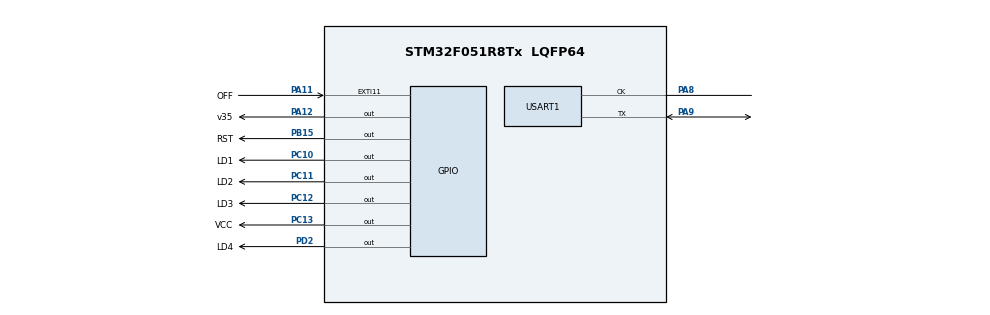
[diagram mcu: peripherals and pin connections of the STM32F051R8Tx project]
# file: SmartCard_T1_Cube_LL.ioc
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Dma.Request0=USART1_RX
Dma.Request1=USART1_TX
Dma.USART1_RX.0.Direction=DMA_PERIPH_TO_MEMORY
Dma.USART1_RX.0.Instance=DMA1_Channel3
Dma.USART1_RX.0.MemDataAlignment=DMA_MDATAALIGN_BYTE
Dma.USART1_RX.0.MemInc=DMA_MINC_ENABLE
Dma.USART1_RX.0.Mode=DMA_NORMAL
Dma.USART1_RX.0.PeriphDataAlignment=DMA_PDATAALIGN_BYTE
Dma.USART1_RX.0.PeriphInc=DMA_PINC_DISABLE
Dma.USART1_RX.0.Priority=DMA_PRIORITY_LOW
Dma.USART1_TX.1.Direction=DMA_MEMORY_TO_PERIPH
Dma.USART1_TX.1.Instance=DMA1_Channel2
Dma.USART1_TX.1.MemDataAlignment=DMA_MDATAALIGN_BYTE
Dma.USART1_TX.1.MemInc=DMA_MINC_ENABLE
Dma.USART1_TX.1.Mode=DMA_NORMAL
Dma.USART1_TX.1.PeriphDataAlignment=DMA_PDATAALIGN_BYTE
Dma.USART1_TX.1.PeriphInc=DMA_PINC_DISABLE
Dma.USART1_TX.1.Priority=DMA_PRIORITY_LOW
Mcu.Family=STM32F0
Mcu.Name=STM32F051R8Tx
Mcu.Package=LQFP64
NVIC.DMA1_Channel2_3_IRQn=true\:0\:0\:false\:false\:true\:false\:true\:true
NVIC.EXTI4_15_IRQn=true\:0\:0\:false\:false\:true\:true\:true\:true
NVIC.USART1_IRQn=true\:0\:0\:false\:false\:true\:true\:true\:true
PA0.Signal=ADC_IN0
PA1.Signal=COMP1_INP
PA11.GPIO_Label=OFF
PA11.Signal=GPXTI11
PA12.GPIO_Label=v35
PA12.Signal=GPIO_Output
PA8.Mode=SmartCard_With_Clock
PA8.Signal=USART1_CK
PA9.Mode=SmartCard_With_Clock
PA9.Signal=USART1_TX
PB15.GPIO_Label=RST
PB15.Signal=GPIO_Output
PC10.GPIO_Label=LD1
PC10.Signal=GPIO_Output
PC11.GPIO_Label=LD2
PC11.Signal=GPIO_Output
PC12.GPIO_Label=LD3
PC12.Signal=GPIO_Output
PC13.GPIO_Label=VCC
PC13.Signal=GPIO_Output
PD2.GPIO_Label=LD4
PD2.Signal=GPIO_Output
ProjectManager.HeapSize=0x200
ProjectManager.StackSize=0x400
ProjectManager.TargetToolchain=STM32CubeIDE
RCC.AHBFreq_Value=48000000
RCC.APB1Freq_Value=48000000
RCC.APB1TimFreq_Value=48000000
RCC.HCLKFreq_Value=48000000
RCC.PLLMUL=RCC_PLL_MUL12
RCC.SYSCLKFreq_VALUE=48000000
RCC.SYSCLKSource=RCC_SYSCLKSOURCE_PLLCLK
USART1.VirtualClockMode=VM_SMARTCARD
USART1.VirtualMode-SmartCard_With_Clock=VM_SMARTCARD
VP_CRC_VS_CRC.Mode=CRC_Activate
VP_RTC_VS_RTC_Activate.Mode=RTC_Enabled
board=custom

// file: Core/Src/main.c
/* USER CODE BEGIN Header */
/**
  ******************************************************************************
  * @file           : main.c
  * @brief          : Main program body
  ******************************************************************************
  * @attention
  *
  * Copyright (c) 2024 STMicroelectronics.
  * All rights reserved.
  *
  * This software is licensed under terms that can be found in the LICENSE file
  * in the root directory of this software component.
  * If no LICENSE file comes with this software, it is provided AS-IS.
  *
  ******************************************************************************
  */
/* USER CODE END Header */
#include "main.h"

/* USER CODE BEGIN Includes */
#include "t1_hal.h"
#include "t1_protocol.h"
#include "t1_protocol_param.h"
/* USER CODE END Includes */

/* USER CODE BEGIN PD */
/* Modifiable parameters */
#define SAD           0x0  /* Source address: reader (allowed values 0 -> 7) */
#define DAD           0x0  /* Destination address: card (allowed values 0 -> 7) */
#define IFSD_VALUE    254  /* Max length of INF field Supported by the reader */
#define SC_FILE_SIZE  0x100   /* File size */
#define SC_FILE_ID    0x0001  /* File identifier */
#define SC_CLASS      0x00

/* Constant parameters */
#define INS_SELECT_FILE    0xA4 /* Select file instruction */
#define INS_READ_FILE      0xB0 /* Read file instruction */
#define INS_WRITE_FILE     0xD6 /* Write file instruction */
#define TRAILER_LENGTH     2    /* Trailer lenght (SW1 and SW2: 2 bytes) */
/* USER CODE END PD */

/* USER CODE BEGIN PM */
#define NAD    (((DAD&0x7)<<4) | (SAD&0x7)) /* Node Address byte */
/* USER CODE END PM */

CRC_HandleTypeDef hcrc;

RTC_HandleTypeDef hrtc;

/* USER CODE BEGIN PV */
ATR_TypeDef atr; /* Answer To Reset structure */
t1_TypeDef T1;   /* T=1 protocol structure */
__IO int32_t ResponseStatus = 0; /* Communication Response status */
uint8_t C_APDU[300];  /* APDU Command buffer */
uint8_t R_APDU[300];  /* APDU Response buffer */
uint8_t ATR_buf[ATR_MAX_SIZE]; /* Answer To Reset buffer */
uint32_t CardClkFreq = 0;  /* The Smartcard clock frequency in Hz */
uint32_t etu_usec = 0; /* Elementary Time Unit in microsecond */
uint32_t SC_baud = 0;  /* SmartCard baudrate */
int8_t protocol= -1;   /* Default protocol (initialized to -1) */
uint32_t apdu_index;   /* Index of the APDU buffer */
uint8_t atr_status;    /* The status of the ATR response */
__IO uint32_t TimingDelay = 0;
__IO uint32_t CardInserted = 0;
/* USER CODE END PV */

void SystemClock_Config(void);
static void MX_GPIO_Init(void);
static void MX_DMA_Init(void);
static void MX_USART1_SMARTCARD_Init(void);
static void MX_CRC_Init(void);
static void MX_RTC_Init(void);

int main(void)
{

  /* MCU Configuration--------------------------------------------------------*/

  /* Reset of all peripherals, Initializes the Flash interface and the Systick. */
  HAL_Init();

  /* Configure the system clock */
  SystemClock_Config();

  /* Initialize all configured peripherals */
  MX_GPIO_Init();
  MX_DMA_Init();
  MX_USART1_SMARTCARD_Init();
  MX_CRC_Init();
  MX_RTC_Init();
  /* USER CODE BEGIN 2 */
  /* Loop while no Smartcard is detected */
//  while(CardInserted == 0)
//  {
//  }

  /* Insert delay of 100ms for signal stabilization */
  HAL_Delay(100);

  /* Configure the USART for SmartCard application and get the selected frequency */
  CardClkFreq = SC_USARTConfig(&etu_usec,&SC_baud);

  /* Enable CMDVCC */
  SC_PowerCmd(ENABLE);

  /* Reset the card */
  SC_Reset(0);

  /************************* Answer To Reset (ATR) ******************************/

  /* ---ATR request...--- */

  /* Get the answer to reset (ATR) frame from the card */
  SC_GetATR(ATR_buf, etu_usec, ATR_MAX_SIZE);

  /* Decode the ATR frame */
  atr_status = ATR_Decode(&atr, &ATR_buf[0], ATR_MAX_SIZE);

  /* If the ATR is malformed */
  if(atr_status != 0)
  {
    /* ---ATR ERROR--- */
    while (1)
    {
      /* The user can reset the card at this stage */
    }
  }
  else
  {

    /* ---ATR OK--- */
    /* ---ATR received: ATR_buf, atr.length--- */

  }

  /* ---SmartCard Clk: CardClkFreq--- */
  /* ---SmartCard baudrate: SC_baud--- */

  /* Get the default protocol */
  ATR_GetDefaultProtocol(&atr, &protocol);

  /* If the protocol used by the card is T=1, start the demo */
  if(protocol == ATR_PROTOCOL_TYPE_T1)
  {

    /********************** T=1 Protocol initialization ****************************/

    /* Init the protocol structure */
    T1_Protocol_Init(&T1,CardClkFreq);

    /* Set F and D parameters and get the new etu value in micro-seconds */
    etu_usec = Set_F_D_parameters(&atr,CardClkFreq);

    /* Set the etu to be used by the protocol */
    (void)T1_SetParameter(&T1, T1_PROTOCOL_ETU, etu_usec);

    /* Set the convention of the protocol */
    Set_Convention(&atr,&T1);

    /* Set and configure the extra guardtime value */
    Set_EGT(&atr);

    /* Set the IFSC (card IFS) value */
    Set_IFSC(&atr, &T1);

    /* Set the CWT and BWT values */
    Set_CWT_BWT(&atr, &T1);

    /* Set the EDC type (LRC or CRC) */
    Set_EDC(&atr, &T1);

    /*************************** Start T1 Protocol ********************************/

    /*------- Send IFSD request --------------------------------------------------*/

    /* Negotiate IFSD: we indicate to the card a new IFSD that the reader can support */
    ResponseStatus = T1_Negotiate_IFSD(&T1, NAD, IFSD_VALUE);

    /* If the IFSD request communication has failed */
    if(ResponseStatus<0)
    {
      /* ---IFSD communication error--- */
      while (1)
      {
        /* The user can reset the card at this stage */
      }
    }

    /*------- Send APDU: Select File Command -------------------------------------*/

    /* Send Select File Command */
    C_APDU[0] = SC_CLASS;                    /* CLA */
    C_APDU[1] = INS_SELECT_FILE;             /* INS: Select File */
    C_APDU[2] = 0x00;                        /* P1 */
    C_APDU[3] = 0x00;                        /* P2 */
    C_APDU[4] = 0x02;                        /* Lc */
    C_APDU[5] = (uint8_t)(SC_FILE_ID>>8);    /* Data 1 */
    C_APDU[6] = (uint8_t)(SC_FILE_ID&0xFF);  /* Data 2 */

    /* ---Sending APDU:  C_APDU, 7--- */

    /* Send/Receive APDU command/response: Select File having ID = SC_FILE_ID */
    ResponseStatus = T1_APDU(&T1, NAD, C_APDU, 7, R_APDU, TRAILER_LENGTH);

    /* If the APDU communication has failed */
    if(ResponseStatus<0)
    {
      /* ---APDU communication error--- */
      while (1)
      {
        /* The user can reset the card at this stage */
      }
    }
    else
    {
      /* ---APDU response: R_APDU, ResponseStatus--- */
    }

    /*------- Send APDU: Read File Command ---------------------------------------*/

    /* Select file */
    C_APDU[0] = SC_CLASS;       /* CLA */
    C_APDU[1] = INS_READ_FILE;  /* INS: Read File */
    C_APDU[2] = 0x00;           /* P1 */
    C_APDU[3] = 0x00;           /* P2 */
    C_APDU[4] = 0x00;           /* Lc: read 256 bytes */

    /* ---Sending APDU: C_APDU, 5--- */

    /* Send/Receive APDU command/response: Read File (256 bytes) */
    ResponseStatus = T1_APDU(&T1, NAD, C_APDU, 5, R_APDU, 256+TRAILER_LENGTH);

    /* If the APDU communication has failed */
    if(ResponseStatus<0)
    {
      /* ---APDU communication error--- */
      while (1)
      {
        /* The user can reset the card at this stage */
      }
    }
    else
    {
      /* ---APDU response: R_APDU, ResponseStatus--- */
    }

    /*------- Send APDU: Write File Command --------------------------------------*/

    /* Select file */
    C_APDU[0] = SC_CLASS;        /* CLA */
    C_APDU[1] = INS_WRITE_FILE;  /* INS: Write File */
    C_APDU[2] = 0x00;            /* P1 */
    C_APDU[3] = 0x00;            /* P2 */
    C_APDU[4] = 0xFF;            /* Lc */

    apdu_index = 5;

    while(apdu_index<261)
    {
      /* initialize the APDU buffer (data field) */
      C_APDU[apdu_index] = apdu_index-5;
      apdu_index++;
    }

    /* ---Sending APDU--- */

    /* Send/Receive APDU command/response: Write File 256 bytes */
    ResponseStatus = T1_APDU(&T1, NAD, C_APDU, 261, R_APDU, TRAILER_LENGTH);

    /* If the APDU communication has failed */
    if(ResponseStatus<0)
    {
      /* ---APDU communication error--- */
      while (1)
      {
        /* The user can reset the card at this stage */
      }
    }
    else
    {
      /* ---APDU response: R_APDU, ResponseStatus--- */
    }

    /*------- Send APDU: Read File Command ---------------------------------------*/

    /* Select file */
    C_APDU[0] = SC_CLASS;       /* CLA */
    C_APDU[1] = INS_READ_FILE;  /* INS: Read File */
    C_APDU[2] = 0x00;           /* P1 */
    C_APDU[3] = 0x00;           /* P2 */
    C_APDU[4] = 0x00;           /* Lc */

    /* ---Sending APDU:  C_APDU, 5--- */

    /* Send/Receive APDU command/response: Read File (256 bytes) */
    ResponseStatus = T1_APDU(&T1, NAD, C_APDU, 5, R_APDU, 256+TRAILER_LENGTH);

    /* If the APDU communication has failed */
    if(ResponseStatus<0)
    {
      /* ---APDU communication error--- */
      while (1)
      {
        /* The user can reset the card at this stage */
      }
    }
    else
    {
      /* ---APDU response: R_APDU, ResponseStatus--- */
    }

    /*------- Send APDU: Write File Command --------------------------------------*/

    /* Select file */
    C_APDU[0] = SC_CLASS;        /* CLA */
    C_APDU[1] = INS_WRITE_FILE;  /* INS: Write File */
    C_APDU[2] = 0x00;            /* P1 */
    C_APDU[3] = 0x00;            /* P2 */
    C_APDU[4] = 0xFF;            /* Lc */

    apdu_index = 5;

    while(apdu_index<261)
    {
      /* Get and invesre the file received from the card */
      C_APDU[apdu_index] = ~(R_APDU[apdu_index-5]);
      apdu_index++;
    }

    /* ---Sending APDU: ", C_APDU, 261--- */

    /* Send/Receive APDU command/response: Write File (256 bytes) */
    ResponseStatus =  T1_APDU(&T1, NAD, C_APDU, 261, R_APDU, TRAILER_LENGTH);

    /* If the APDU communication has failed */
    if(ResponseStatus<0)
    {
      /* ---APDU communication error--- */
      while (1)
      {
        /* The user can reset the card at this stage */
      }
    }
    else
    {
      /* ---APDU response: R_APDU, ResponseStatus--- */
    }

    /*------- Send APDU: Read File Command -------------------------------------*/

    /* Select file */
    C_APDU[0] = SC_CLASS;       /* CLA */
    C_APDU[1] = INS_READ_FILE;  /* INS: Read File */
    C_APDU[2] = 0x00;           /* P1 */
    C_APDU[3] = 0x00;           /* P2 */
    C_APDU[4] = 0x00;           /* Lc */

    /* ---Sending APDU: C_APDU, 5--- */

    /* Send/Receive APDU command/response: Read File (256 bytes) */
    ResponseStatus =  T1_APDU(&T1, NAD, C_APDU, 5, R_APDU, 256+TRAILER_LENGTH);

    /* If the APDU communication has failed */
    if(ResponseStatus<0)
    {
      /* ---APDU communication error--- */
      while (1)
      {
        /* The user can reset the card at this stage */
      }
    }
    else
    {
      /* ---APDU response:  R_APDU, ResponseStatus--- */
      /* ---All operations were executed successfully --- */
      // STM_EVAL_LEDOn(LED1);
      // STM_EVAL_LEDOn(LED2);
      // STM_EVAL_LEDOn(LED3);
      // STM_EVAL_LEDOn(LED4);
       __NOP();
    }
  }
  else
  {
    /* ---SmartCard is not compatible with T=1 protocol--- */
    // STM_EVAL_LEDOff(LED1);
    // STM_EVAL_LEDOn(LED2);
    // STM_EVAL_LEDOff(LED3);
    // STM_EVAL_LEDOff(LED4);
     __NOP();
  }

  /* ----*-*-*- DEMO END -*-*-*---- */
  CardInserted = 0;
  /* USER CODE END 2 */

  /* Infinite loop */
  while (1)
  {

  }
}

void SystemClock_Config(void)
{
  LL_FLASH_SetLatency(LL_FLASH_LATENCY_1);
  while(LL_FLASH_GetLatency() != LL_FLASH_LATENCY_1)
  {
  }
  LL_RCC_HSI_Enable();

   /* Wait till HSI is ready */
  while(LL_RCC_HSI_IsReady() != 1)
  {

  }
//  LL_RCC_HSI_SetCalibTrimming(16);
  LL_RCC_LSI_Enable();

   /* Wait till LSI is ready */
  while(LL_RCC_LSI_IsReady() != 1)
  {

  }
  LL_PWR_EnableBkUpAccess();
  if(LL_RCC_GetRTCClockSource() != LL_RCC_RTC_CLKSOURCE_LSI)
  {
    LL_RCC_ForceBackupDomainReset();
    LL_RCC_ReleaseBackupDomainReset();
    LL_RCC_SetRTCClockSource(LL_RCC_RTC_CLKSOURCE_LSI);
  }
  LL_RCC_EnableRTC();
  LL_RCC_PLL_ConfigDomain_SYS(LL_RCC_PLLSOURCE_HSI_DIV_2, LL_RCC_PLL_MUL_12);
  LL_RCC_PLL_Enable();

   /* Wait till PLL is ready */
  while(LL_RCC_PLL_IsReady() != 1)
  {

  }
  LL_RCC_SetAHBPrescaler(LL_RCC_SYSCLK_DIV_1);
  LL_RCC_SetAPB1Prescaler(LL_RCC_APB1_DIV_1);
  LL_RCC_SetSysClkSource(LL_RCC_SYS_CLKSOURCE_PLL);

   /* Wait till System clock is ready */
  while(LL_RCC_GetSysClkSource() != LL_RCC_SYS_CLKSOURCE_STATUS_PLL)
  {

  }
  LL_SetSystemCoreClock(48000000);

   /* Update the time base */
  if (HAL_InitTick (TICK_INT_PRIORITY) != HAL_OK)
  {
    Error_Handler();
  }
  LL_RCC_SetUSARTClockSource(LL_RCC_USART1_CLKSOURCE_PCLK1);
}

static void MX_CRC_Init(void)
{

  hcrc.Instance = CRC;
  hcrc.Init.DefaultInitValueUse = DEFAULT_INIT_VALUE_ENABLE;
  hcrc.Init.InputDataInversionMode = CRC_INPUTDATA_INVERSION_NONE;
  hcrc.Init.OutputDataInversionMode = CRC_OUTPUTDATA_INVERSION_DISABLE;
  hcrc.InputDataFormat = CRC_INPUTDATA_FORMAT_BYTES;
  if (HAL_CRC_Init(&hcrc) != HAL_OK)
  {
    Error_Handler();
  }

}

static void MX_RTC_Init(void)
{

  /** Initialize RTC Only
  */
  hrtc.Instance = RTC;
  hrtc.Init.HourFormat = RTC_HOURFORMAT_24;
  hrtc.Init.AsynchPrediv = 127;
  hrtc.Init.SynchPrediv = 255;
  hrtc.Init.OutPut = RTC_OUTPUT_DISABLE;
  hrtc.Init.OutPutPolarity = RTC_OUTPUT_POLARITY_HIGH;
  hrtc.Init.OutPutType = RTC_OUTPUT_TYPE_OPENDRAIN;
  if (HAL_RTC_Init(&hrtc) != HAL_OK)
  {
    Error_Handler();
  }

}

static void MX_USART1_SMARTCARD_Init(void)
{

  LL_USART_InitTypeDef USART_InitStruct = {0};
  LL_USART_ClockInitTypeDef USART_ClockInitStruct = {0};

  LL_GPIO_InitTypeDef GPIO_InitStruct = {0};

  /* Peripheral clock enable */
  LL_APB1_GRP2_EnableClock(LL_APB1_GRP2_PERIPH_USART1);

  LL_AHB1_GRP1_EnableClock(LL_AHB1_GRP1_PERIPH_GPIOA);
  /**USART1 GPIO Configuration
  PA8   ------> USART1_CK
  PA9   ------> USART1_TX
  */
  GPIO_InitStruct.Pin = LL_GPIO_PIN_8;
  GPIO_InitStruct.Mode = LL_GPIO_MODE_ALTERNATE;
  GPIO_InitStruct.Speed = LL_GPIO_SPEED_FREQ_HIGH;
  GPIO_InitStruct.OutputType = LL_GPIO_OUTPUT_PUSHPULL;
  GPIO_InitStruct.Pull = LL_GPIO_PULL_NO;
  GPIO_InitStruct.Alternate = LL_GPIO_AF_1;
  LL_GPIO_Init(GPIOA, &GPIO_InitStruct);

  GPIO_InitStruct.Pin = LL_GPIO_PIN_9;
  GPIO_InitStruct.Mode = LL_GPIO_MODE_ALTERNATE;
  GPIO_InitStruct.Speed = LL_GPIO_SPEED_FREQ_HIGH;
  GPIO_InitStruct.OutputType = LL_GPIO_OUTPUT_OPENDRAIN;
  GPIO_InitStruct.Pull = LL_GPIO_PULL_UP;
  GPIO_InitStruct.Alternate = LL_GPIO_AF_1;
  LL_GPIO_Init(GPIOA, &GPIO_InitStruct);

  /* USART1 DMA Init */

  /* USART1_RX Init */
  LL_DMA_SetDataTransferDirection(DMA1, LL_DMA_CHANNEL_3, LL_DMA_DIRECTION_PERIPH_TO_MEMORY);

  LL_DMA_SetChannelPriorityLevel(DMA1, LL_DMA_CHANNEL_3, LL_DMA_PRIORITY_LOW);

  LL_DMA_SetMode(DMA1, LL_DMA_CHANNEL_3, LL_DMA_MODE_NORMAL);

  LL_DMA_SetPeriphIncMode(DMA1, LL_DMA_CHANNEL_3, LL_DMA_PERIPH_NOINCREMENT);

  LL_DMA_SetMemoryIncMode(DMA1, LL_DMA_CHANNEL_3, LL_DMA_MEMORY_INCREMENT);

  LL_DMA_SetPeriphSize(DMA1, LL_DMA_CHANNEL_3, LL_DMA_PDATAALIGN_BYTE);

  LL_DMA_SetMemorySize(DMA1, LL_DMA_CHANNEL_3, LL_DMA_MDATAALIGN_BYTE);

  /* USART1_TX Init */
  LL_DMA_SetDataTransferDirection(DMA1, LL_DMA_CHANNEL_2, LL_DMA_DIRECTION_MEMORY_TO_PERIPH);

  LL_DMA_SetChannelPriorityLevel(DMA1, LL_DMA_CHANNEL_2, LL_DMA_PRIORITY_LOW);

  LL_DMA_SetMode(DMA1, LL_DMA_CHANNEL_2, LL_DMA_MODE_NORMAL);

  LL_DMA_SetPeriphIncMode(DMA1, LL_DMA_CHANNEL_2, LL_DMA_PERIPH_NOINCREMENT);

  LL_DMA_SetMemoryIncMode(DMA1, LL_DMA_CHANNEL_2, LL_DMA_MEMORY_INCREMENT);

  LL_DMA_SetPeriphSize(DMA1, LL_DMA_CHANNEL_2, LL_DMA_PDATAALIGN_BYTE);

  LL_DMA_SetMemorySize(DMA1, LL_DMA_CHANNEL_2, LL_DMA_MDATAALIGN_BYTE);

  /* USART1 interrupt Init */
  NVIC_SetPriority(USART1_IRQn, 0);
  NVIC_EnableIRQ(USART1_IRQn);

  USART_InitStruct.BaudRate = 38400;
  USART_InitStruct.DataWidth = LL_USART_DATAWIDTH_9B;
  USART_InitStruct.StopBits = LL_USART_STOPBITS_1_5;
  USART_InitStruct.Parity = LL_USART_PARITY_EVEN;
  USART_InitStruct.TransferDirection = LL_USART_DIRECTION_TX_RX;
  USART_InitStruct.OverSampling = LL_USART_OVERSAMPLING_16;

  LL_USART_Init(USART1, &USART_InitStruct);
  LL_USART_SetSmartcardGuardTime(USART1, 0);
  LL_USART_SetBlockLength(USART1, 0);
  LL_USART_SetSmartcardAutoRetryCount(USART1, 0);
  LL_USART_SetSmartcardPrescaler(USART1, 10);
  LL_USART_EnableSmartcardNACK(USART1);
  USART_ClockInitStruct.ClockOutput = LL_USART_CLOCK_ENABLE;
  USART_ClockInitStruct.ClockPolarity = LL_USART_POLARITY_LOW;
  USART_ClockInitStruct.ClockPhase = LL_USART_PHASE_1EDGE;
  USART_ClockInitStruct.LastBitClockPulse = LL_USART_LASTCLKPULSE_NO_OUTPUT;
  LL_USART_ClockInit(USART1, &USART_ClockInitStruct);
  LL_USART_ConfigSmartcardMode(USART1);
  LL_USART_Enable(USART1);

}

static void MX_DMA_Init(void)
{

  /* DMA controller clock enable */
  __HAL_RCC_DMA1_CLK_ENABLE();

  /* DMA interrupt init */
  /* DMA1_Channel2_3_IRQn interrupt configuration */
  NVIC_SetPriority(DMA1_Channel2_3_IRQn, 0);
  NVIC_EnableIRQ(DMA1_Channel2_3_IRQn);

}

static void MX_GPIO_Init(void)
{
  GPIO_InitTypeDef GPIO_InitStruct = {0};

  /* GPIO Ports Clock Enable */
  __HAL_RCC_GPIOC_CLK_ENABLE();
  __HAL_RCC_GPIOA_CLK_ENABLE();
  __HAL_RCC_GPIOB_CLK_ENABLE();
  __HAL_RCC_GPIOD_CLK_ENABLE();

  /*Configure GPIO pin Output Level */
  HAL_GPIO_WritePin(GPIOC, VCC_Pin|LD1_Pin|LD2_Pin|LD3_Pin, GPIO_PIN_RESET);

  /*Configure GPIO pin Output Level */
  HAL_GPIO_WritePin(RST_GPIO_Port, RST_Pin, GPIO_PIN_RESET);

  /*Configure GPIO pin Output Level */
  HAL_GPIO_WritePin(v35_GPIO_Port, v35_Pin, GPIO_PIN_RESET);

  /*Configure GPIO pin Output Level */
  HAL_GPIO_WritePin(LD4_GPIO_Port, LD4_Pin, GPIO_PIN_RESET);

  /*Configure GPIO pins : VCC_Pin LD1_Pin LD2_Pin LD3_Pin */
  GPIO_InitStruct.Pin = VCC_Pin|LD1_Pin|LD2_Pin|LD3_Pin;
  GPIO_InitStruct.Mode = GPIO_MODE_OUTPUT_PP;
  GPIO_InitStruct.Pull = GPIO_NOPULL;
  GPIO_InitStruct.Speed = GPIO_SPEED_FREQ_LOW;
  HAL_GPIO_Init(GPIOC, &GPIO_InitStruct);

  /*Configure GPIO pin : PA0 */
  GPIO_InitStruct.Pin = GPIO_PIN_0;
  GPIO_InitStruct.Mode = GPIO_MODE_ANALOG;
  GPIO_InitStruct.Pull = GPIO_NOPULL;
  HAL_GPIO_Init(GPIOA, &GPIO_InitStruct);

  /*Configure GPIO pin : PA1 */
  GPIO_InitStruct.Pin = GPIO_PIN_1;
  GPIO_InitStruct.Mode = GPIO_MODE_ANALOG;
  GPIO_InitStruct.Pull = GPIO_NOPULL;
  HAL_GPIO_Init(GPIOA, &GPIO_InitStruct);

  /*Configure GPIO pin : RST_Pin */
  GPIO_InitStruct.Pin = RST_Pin;
  GPIO_InitStruct.Mode = GPIO_MODE_OUTPUT_PP;
  GPIO_InitStruct.Pull = GPIO_NOPULL;
  GPIO_InitStruct.Speed = GPIO_SPEED_FREQ_LOW;
  HAL_GPIO_Init(RST_GPIO_Port, &GPIO_InitStruct);

  /*Configure GPIO pin : OFF_Pin */
  GPIO_InitStruct.Pin = OFF_Pin;
  GPIO_InitStruct.Mode = GPIO_MODE_IT_RISING;
  GPIO_InitStruct.Pull = GPIO_NOPULL;
  HAL_GPIO_Init(OFF_GPIO_Port, &GPIO_InitStruct);

  /*Configure GPIO pin : v35_Pin */
  GPIO_InitStruct.Pin = v35_Pin;
  GPIO_InitStruct.Mode = GPIO_MODE_OUTPUT_PP;
  GPIO_InitStruct.Pull = GPIO_NOPULL;
  GPIO_InitStruct.Speed = GPIO_SPEED_FREQ_LOW;
  HAL_GPIO_Init(v35_GPIO_Port, &GPIO_InitStruct);

  /*Configure GPIO pin : LD4_Pin */
  GPIO_InitStruct.Pin = LD4_Pin;
  GPIO_InitStruct.Mode = GPIO_MODE_OUTPUT_PP;
  GPIO_InitStruct.Pull = GPIO_NOPULL;
  GPIO_InitStruct.Speed = GPIO_SPEED_FREQ_LOW;
  HAL_GPIO_Init(LD4_GPIO_Port, &GPIO_InitStruct);

  /* EXTI interrupt init*/
  HAL_NVIC_SetPriority(EXTI4_15_IRQn, 0, 0);
  HAL_NVIC_EnableIRQ(EXTI4_15_IRQn);

}

void Error_Handler(void)
{
  __disable_irq();
  while (1)
  {
  }
}
